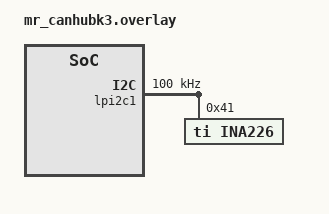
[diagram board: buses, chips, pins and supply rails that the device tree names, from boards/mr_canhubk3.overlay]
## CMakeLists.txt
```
# Copyright 2024 NXP
# SPDX-License-Identifier: Apache-2.0

# Referred from file "zephyr/samples/sensor/ina219/CMakeLists.txt".

cmake_minimum_required(VERSION 3.20.0)
find_package(Zephyr REQUIRED HINTS $ENV{ZEPHYR_BASE})
project(ina226)

FILE(GLOB app_sources src/*.c)
target_sources(app PRIVATE ${app_sources})
```

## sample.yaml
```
# Copyright 2024 NXP
#
# SPDX-License-Identifier: Apache-2.0

# Based on the file "zephyr/samples/sensor/ina219/sample.yaml".

sample:
  name: TI INA226 power/current monitor
  description: Demonstration of the INA226 I2C power/current monitor
tests:
  sample.drivers.ina226:
    build_only: true
    platform_allow: mr_canhubk3
    tags: sensors
```

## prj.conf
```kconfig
CONFIG_STDOUT_CONSOLE=y
CONFIG_CBPRINTF_FP_SUPPORT=y
CONFIG_I2C=y
CONFIG_SENSOR=y
CONFIG_INA226_VSHUNT=y
```

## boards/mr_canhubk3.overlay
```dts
/*
 * Copyright 2024 NXP
 *
 * SPDX-License-Identifier: Apache-2.0
 */

&lpi2c1 {
	status = "okay";
	pinctrl-0 = <&lpi2c1_default>;
	pinctrl-names = "default";
	clock-frequency = <I2C_BITRATE_STANDARD>;

	ina226: ina226@41 {
		compatible = "ti,ina226";
		reg = <0x41>;
		current-lsb-microamps = <5000>;
		rshunt-micro-ohms = <500>;
	};
};
```

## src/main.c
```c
/*
 * Copyright 2024 NXP
 *
 * SPDX-License-Identifier: Apache-2.0
 */

/* Referred code from file: "zephyr/samples/sensor/ina219/src/main.c". */

#include <zephyr/kernel.h>
#include <stdio.h>
#include <zephyr/drivers/sensor.h>


int main(void)
{
	const struct device *const ina = DEVICE_DT_GET(DT_NODELABEL(ina226));
	struct sensor_value v_bus, v_shunt, power, current;
	int rc;

	if (!device_is_ready(ina)) {
		printf("Device %s is not ready.\n", ina->name);
		return 0;
	}

	while (true) {
		rc = sensor_sample_fetch(ina);
		if (rc) {
			printf("Could not fetch sensor data.\n");
			return 0;
		}

		sensor_channel_get(ina, SENSOR_CHAN_VOLTAGE, &v_bus);
		sensor_channel_get(ina, SENSOR_CHAN_POWER, &power);
		sensor_channel_get(ina, SENSOR_CHAN_CURRENT, &current);
		sensor_channel_get(ina, SENSOR_CHAN_VSHUNT, &v_shunt);

		printf("Bus Voltage: %f [V] , "
			"Shunt Voltage: %f [V] , "
			"Power: %f [W] , "
			"Current: %f [A]\n",
			sensor_value_to_double(&v_bus),
			sensor_value_to_double(&v_shunt),
			sensor_value_to_double(&power),
			sensor_value_to_double(&current));

		k_sleep(K_MSEC(2000));
	}

	return 0;
}
```
